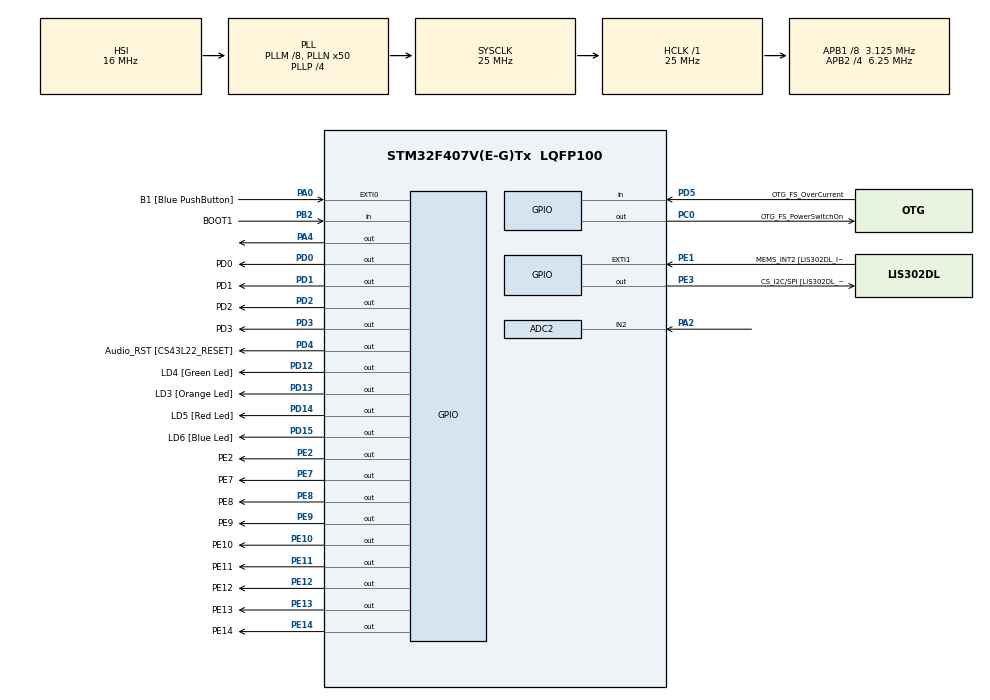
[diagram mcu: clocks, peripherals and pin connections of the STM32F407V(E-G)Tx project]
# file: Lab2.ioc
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ADC2.Channel-0\#ChannelRegularConversion=ADC_CHANNEL_2
ADC2.ClockPrescaler=ADC_CLOCK_SYNC_PCLK_DIV2
ADC2.ContinuousConvMode=DISABLE
ADC2.DMAContinuousRequests=DISABLE
ADC2.DataAlign=ADC_DATAALIGN_RIGHT
ADC2.DiscontinuousConvMode=DISABLE
ADC2.EOCSelection=ADC_EOC_SINGLE_CONV
ADC2.EnableAnalogWatchDog=false
ADC2.ExternalTrigConv=ADC_EXTERNALTRIGCONV_T2_TRGO
ADC2.ExternalTrigConvEdge=ADC_EXTERNALTRIGCONVEDGE_RISING
ADC2.InjNumberOfConversion=0
ADC2.NbrOfConversion=1
ADC2.NbrOfConversionFlag=1
ADC2.Rank-0\#ChannelRegularConversion=1
ADC2.Resolution=ADC_RESOLUTION_8B
ADC2.SamplingTime-0\#ChannelRegularConversion=ADC_SAMPLETIME_3CYCLES
ADC2.ScanConvMode=DISABLE
Mcu.Family=STM32F4
Mcu.Name=STM32F407V(E-G)Tx
Mcu.Package=LQFP100
NVIC.PriorityGroup=NVIC_PRIORITYGROUP_0
NVIC.TIM2_IRQn=true\:0\:0\:false\:false\:true
NVIC.TIM3_IRQn=true\:0\:0\:false\:false\:true
PA0-WKUP.GPIO_Label=B1 [Blue PushButton]
PA0-WKUP.GPIO_ModeDefaultEXTI=GPIO_MODE_EVT_RISING
PA0-WKUP.GPIO_PuPd=GPIO_NOPULL
PA0-WKUP.Signal=GPXTI0
PA10.GPIO_Label=OTG_FS_ID
PA10.GPIO_Mode=GPIO_MODE_AF_PP
PA10.GPIO_PuPd=GPIO_NOPULL
PA10.GPIO_Speed=GPIO_SPEED_FREQ_LOW
PA10.Signal=USB_OTG_FS_ID
PA11.GPIO_Label=OTG_FS_DM
PA11.GPIO_Mode=GPIO_MODE_AF_PP
PA11.GPIO_PuPd=GPIO_NOPULL
PA11.GPIO_Speed=GPIO_SPEED_FREQ_LOW
PA11.Signal=USB_OTG_FS_DM
PA12.GPIO_Label=OTG_FS_DP
PA12.GPIO_Mode=GPIO_MODE_AF_PP
PA12.GPIO_PuPd=GPIO_NOPULL
PA12.GPIO_Speed=GPIO_SPEED_FREQ_LOW
PA12.Signal=USB_OTG_FS_DP
PA13.GPIO_Label=SWDIO
PA13.Signal=SYS_JTMS-SWDIO
PA14.GPIO_Label=SWCLK
PA14.Signal=SYS_JTCK-SWCLK
PA2.Signal=ADCx_IN2
PA4.Signal=GPIO_Output
PA5.GPIO_Label=SPI1_SCK [LIS302DL_SCL/SPC]
PA5.GPIO_Mode=GPIO_MODE_AF_PP
PA5.GPIO_PuPd=GPIO_NOPULL
PA5.GPIO_Speed=GPIO_SPEED_FREQ_LOW
PA5.Signal=SPI1_SCK
PA6.GPIO_Label=SPI1_MISO [LIS302DL_SDO]
PA6.GPIO_Mode=GPIO_MODE_AF_PP
PA6.GPIO_PuPd=GPIO_NOPULL
PA6.GPIO_Speed=GPIO_SPEED_FREQ_LOW
PA6.Signal=SPI1_MISO
PA7.GPIO_Label=SPI1_MOSI [LIS302DL_SDA/SDI/SDO]
PA7.GPIO_Mode=GPIO_MODE_AF_PP
PA7.GPIO_PuPd=GPIO_NOPULL
PA7.GPIO_Speed=GPIO_SPEED_FREQ_LOW
PA7.Signal=SPI1_MOSI
PA9.GPIO_Label=VBUS_FS
PA9.GPIO_Mode=GPIO_MODE_INPUT
PA9.GPIO_PuPd=GPIO_NOPULL
PA9.Signal=USB_OTG_FS_VBUS
PB10.GPIO_Label=CLK_IN [MP45DT02_CLK]
PB10.GPIO_Mode=GPIO_MODE_AF_PP
PB10.GPIO_PuPd=GPIO_NOPULL
PB10.GPIO_Speed=GPIO_SPEED_FREQ_LOW
PB10.Signal=I2S2_CK
PB2.GPIO_Label=BOOT1
PB2.GPIO_Mode=GPIO_MODE_INPUT
PB2.GPIO_PuPd=GPIO_NOPULL
PB2.Signal=GPIO_Input
PB3.GPIO_Label=SWO
PB3.Signal=SYS_JTDO-SWO
PB6.GPIO_Label=Audio_SCL [CS43L22_SCL]
PB6.GPIO_Mode=GPIO_MODE_AF_OD
PB6.GPIO_PuPd=GPIO_NOPULL
PB6.GPIO_Speed=GPIO_SPEED_FREQ_LOW
PB6.Signal=I2C1_SCL
PB9.GPIO_Label=Audio_SDA [CS43L22_SDA]
PB9.GPIO_Mode=GPIO_MODE_AF_OD
PB9.GPIO_PuPd=GPIO_NOPULL
PB9.GPIO_Speed=GPIO_SPEED_FREQ_LOW
PB9.Signal=I2C1_SDA
PC0.GPIO_Label=OTG_FS_PowerSwitchOn
PC0.GPIO_PuPd=GPIO_NOPULL
PC0.GPIO_Speed=GPIO_SPEED_FREQ_LOW
PC0.PinState=GPIO_PIN_SET
PC0.Signal=GPIO_Output
PC10.GPIO_Label=I2S3_SCK [CS43L22_SCLK]
PC10.GPIO_Mode=GPIO_MODE_AF_PP
PC10.GPIO_PuPd=GPIO_NOPULL
PC10.GPIO_Speed=GPIO_SPEED_FREQ_LOW
PC10.Signal=I2S3_CK
PC12.GPIO_Label=I2S3_SD [CS43L22_SDIN]
PC12.GPIO_Mode=GPIO_MODE_AF_PP
PC12.GPIO_PuPd=GPIO_NOPULL
PC12.GPIO_Speed=GPIO_SPEED_FREQ_LOW
PC12.Signal=I2S3_SD
PC14-OSC32_IN.GPIO_Label=PC14-OSC32_IN
PC14-OSC32_IN.Signal=RCC_OSC32_IN
PC15-OSC32_OUT.GPIO_Label=PC15-OSC32_OUT
PC15-OSC32_OUT.Signal=RCC_OSC32_OUT
PC3.GPIO_Label=PDM_OUT [MP45DT02_DOUT]
PC3.GPIO_Mode=GPIO_MODE_AF_PP
PC3.GPIO_PuPd=GPIO_NOPULL
PC3.GPIO_Speed=GPIO_SPEED_FREQ_LOW
PC3.Signal=I2S2_SD
PC7.GPIO_Label=I2S3_MCK [CS43L22_MCLK]
PC7.GPIO_Mode=GPIO_MODE_AF_PP
PC7.GPIO_PuPd=GPIO_NOPULL
PC7.GPIO_Speed=GPIO_SPEED_FREQ_LOW
PC7.Signal=I2S3_MCK
PD0.GPIO_Label=PD0
PD0.Signal=GPIO_Output
PD1.GPIO_Label=PD1
PD1.Signal=GPIO_Output
PD12.GPIO_Label=LD4 [Green Led]
PD12.GPIO_PuPd=GPIO_NOPULL
PD12.GPIO_Speed=GPIO_SPEED_FREQ_LOW
PD12.Signal=GPIO_Output
PD13.GPIO_Label=LD3 [Orange Led]
PD13.GPIO_PuPd=GPIO_NOPULL
PD13.GPIO_Speed=GPIO_SPEED_FREQ_LOW
PD13.Signal=GPIO_Output
PD14.GPIO_Label=LD5 [Red Led]
PD14.GPIO_PuPd=GPIO_NOPULL
PD14.GPIO_Speed=GPIO_SPEED_FREQ_LOW
PD14.Signal=GPIO_Output
PD15.GPIO_Label=LD6 [Blue Led]
PD15.GPIO_PuPd=GPIO_NOPULL
PD15.GPIO_Speed=GPIO_SPEED_FREQ_LOW
PD15.Signal=GPIO_Output
PD2.GPIO_Label=PD2
PD2.Signal=GPIO_Output
PD3.GPIO_Label=PD3
PD3.Signal=GPIO_Output
PD4.GPIO_Label=Audio_RST [CS43L22_RESET]
PD4.GPIO_PuPd=GPIO_NOPULL
PD4.GPIO_Speed=GPIO_SPEED_FREQ_LOW
PD4.Signal=GPIO_Output
PD5.GPIO_Label=OTG_FS_OverCurrent
PD5.GPIO_Mode=GPIO_MODE_INPUT
PD5.GPIO_PuPd=GPIO_NOPULL
PD5.Signal=GPIO_Input
PE1.GPIO_Label=MEMS_INT2 [LIS302DL_INT2]
PE1.GPIO_ModeDefaultEXTI=GPIO_MODE_EVT_RISING
PE1.GPIO_PuPd=GPIO_NOPULL
PE1.Signal=GPXTI1
PE10.GPIO_Label=PE10
PE10.Signal=GPIO_Output
PE11.GPIO_Label=PE11
PE11.Signal=GPIO_Output
PE12.GPIO_Label=PE12
PE12.Signal=GPIO_Output
PE13.GPIO_Label=PE13
PE13.Signal=GPIO_Output
PE14.GPIO_Label=PE14
PE14.Signal=GPIO_Output
PE2.GPIO_Label=PE2
PE2.Signal=GPIO_Output
PE3.GPIO_Label=CS_I2C/SPI [LIS302DL_CS_I2C/SPI]
PE3.GPIO_PuPd=GPIO_NOPULL
PE3.GPIO_Speed=GPIO_SPEED_FREQ_LOW
PE3.Signal=GPIO_Output
PE7.GPIO_Label=PE7
PE7.Signal=GPIO_Output
PE8.GPIO_Label=PE8
PE8.Signal=GPIO_Output
PE9.GPIO_Label=PE9
PE9.Signal=GPIO_Output
PH0-OSC_IN.GPIO_Label=PH0-OSC_IN
PH0-OSC_IN.Signal=RCC_OSC_IN
PH1-OSC_OUT.GPIO_Label=PH1-OSC_OUT
PH1-OSC_OUT.Signal=RCC_OSC_OUT
ProjectManager.HeapSize=0x200
ProjectManager.StackSize=0x400
ProjectManager.TargetToolchain=MDK-ARM V5
RCC.48MHZClocksFreq_Value=14285714.285714285
RCC.AHBFreq_Value=25000000
RCC.APB1CLKDivider=RCC_HCLK_DIV8
RCC.APB1Freq_Value=3125000
RCC.APB1TimFreq_Value=6250000
RCC.APB2CLKDivider=RCC_HCLK_DIV4
RCC.APB2Freq_Value=6250000
RCC.APB2TimFreq_Value=12500000
RCC.CortexFreq_Value=25000000
RCC.HCLKFreq_Value=25000000
RCC.HSE_VALUE=8000000
RCC.HSI_VALUE=16000000
RCC.LSE_VALUE=32768
RCC.PLLM=8
RCC.PLLN=50
RCC.PLLP=RCC_PLLP_DIV4
RCC.PLLQ=7
RCC.SYSCLKFreq_VALUE=25000000
RCC.SYSCLKSource=RCC_SYSCLKSOURCE_PLLCLK
RCC.VCOOutputFreq_Value=100000000
SH.ADCx_IN2.0=ADC2_IN2,IN2
TIM2.Period=1000
TIM2.Prescaler=6250
TIM3.Period=20
TIM3.Prescaler=6250
TIM3.TIM_MasterOutputTrigger=TIM_TRGO_UPDATE
VP_TIM2_VS_ClockSourceINT.Mode=Internal
VP_TIM3_VS_ClockSourceINT.Mode=Internal
board=STM32F4DISCOVERY

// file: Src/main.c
/**
  ******************************************************************************
  * File Name          : main.c
  * Description        : Main program body
  ******************************************************************************
  ** This notice applies to any and all portions of this file
  * that are not between comment pairs USER CODE BEGIN and
  * USER CODE END. Other portions of this file, whether
  * inserted by the user or by software development tools
  * are owned by their respective copyright owners.
  *
  * COPYRIGHT(c) 2017 STMicroelectronics
  *
  * Redistribution and use in source and binary forms, with or without modification,
  * are permitted provided that the following conditions are met:
  *   1. Redistributions of source code must retain the above copyright notice,
  *      this list of conditions and the following disclaimer.
  *   2. Redistributions in binary form must reproduce the above copyright notice,
  *      this list of conditions and the following disclaimer in the documentation
  *      and/or other materials provided with the distribution.
  *   3. Neither the name of STMicroelectronics nor the names of its contributors
  *      may be used to endorse or promote products derived from this software
  *      without specific prior written permission.
  *
  * THIS SOFTWARE IS PROVIDED BY THE COPYRIGHT HOLDERS AND CONTRIBUTORS "AS IS"
  * AND ANY EXPRESS OR IMPLIED WARRANTIES, INCLUDING, BUT NOT LIMITED TO, THE
  * IMPLIED WARRANTIES OF MERCHANTABILITY AND FITNESS FOR A PARTICULAR PURPOSE ARE
  * DISCLAIMED. IN NO EVENT SHALL THE COPYRIGHT HOLDER OR CONTRIBUTORS BE LIABLE
  * FOR ANY DIRECT, INDIRECT, INCIDENTAL, SPECIAL, EXEMPLARY, OR CONSEQUENTIAL
  * DAMAGES (INCLUDING, BUT NOT LIMITED TO, PROCUREMENT OF SUBSTITUTE GOODS OR
  * SERVICES; LOSS OF USE, DATA, OR PROFITS; OR BUSINESS INTERRUPTION) HOWEVER
  * CAUSED AND ON ANY THEORY OF LIABILITY, WHETHER IN CONTRACT, STRICT LIABILITY,
  * OR TORT (INCLUDING NEGLIGENCE OR OTHERWISE) ARISING IN ANY WAY OUT OF THE USE
  * OF THIS SOFTWARE, EVEN IF ADVISED OF THE POSSIBILITY OF SUCH DAMAGE.
  *
  ******************************************************************************
  */
#include "main.h"
#include "math.h"
#include "stm32f4xx_hal.h"
#include "adc.h"
#include "tim.h"
#include "gpio.h"

/* USER CODE BEGIN PV */
/* Private variables ---------------------------------------------------------*/
int displayCounter=0;
int currentDigit=0;
int windowSizePassed=0;
int overflowed = 0;
int spiked = 0;

int overflowCounter = 0;
int spikeCounter = 0;

int flag;
int waveFlag;

int digitArray[4]={0,0,0,0} ;

float total = 0;
float voltage_reading = 0;
const float WINDOW = 10.0;
const int WINDOW_INT=(int)WINDOW;
int window_counter = WINDOW_INT;
int counter = 0;
float buffer[WINDOW_INT];
float val_a = 0;
float val_b = 0;
const float MAX_ADC_BITS = 255.0f;
const float MAX_VOLTS = 3.0f;
const float VOLTS_PER_BIT = (MAX_VOLTS / MAX_ADC_BITS);
const	float MAX_ALLOWABLE = 3.402823466e+38F;

const int DISPLAY_COUNTER_MAX = 100;
const int LED_COUNTER_MAX = 300;

const float DELTA_THRESHOLD = (MAX_VOLTS*MAX_VOLTS*0.2*0.2); //Delta threshold set to 0.7 of full range.

/* USER CODE END PV */

void SystemClock_Config(void);

/* USER CODE BEGIN PFP */
/* Private function prototypes -----------------------------------------------*/

/* USER CODE END PFP */

/* USER CODE BEGIN 0 */

/**
* 	Lights up LEDs to indicate that the window size has not fully been collected yet.
*	  ORANGE LED ON, ALL ELSE OFF
*/
void preWindowState(){
		windowSizePassed=0;
		HAL_GPIO_WritePin(GPIOD, GPIO_PIN_12, GPIO_PIN_RESET);
		HAL_GPIO_WritePin(GPIOD, GPIO_PIN_13, GPIO_PIN_SET);
		HAL_GPIO_WritePin(GPIOD, GPIO_PIN_14, GPIO_PIN_RESET);
		HAL_GPIO_WritePin(GPIOD, GPIO_PIN_15, GPIO_PIN_RESET);
}

/**
* 	Lights up LEDs to indicate that data is being collected as expected.
*	  GREEN LED ON,  ALL ELSE OFF
*/
void stableState(){
		windowSizePassed=1;
		HAL_GPIO_WritePin(GPIOD, GPIO_PIN_12, GPIO_PIN_SET);
		HAL_GPIO_WritePin(GPIOD, GPIO_PIN_13, GPIO_PIN_RESET);
		HAL_GPIO_WritePin(GPIOD, GPIO_PIN_14, GPIO_PIN_RESET);
		HAL_GPIO_WritePin(GPIOD, GPIO_PIN_15, GPIO_PIN_RESET);
}

/**
* 	Lights up LEDs to indicate that an overflow has been detected.
*	  RED LED ON,  ALL ELSE OFF
*/
void overFlowState(){
		HAL_GPIO_WritePin(GPIOD, GPIO_PIN_12, GPIO_PIN_RESET);
		HAL_GPIO_WritePin(GPIOD, GPIO_PIN_13, GPIO_PIN_RESET);
		HAL_GPIO_WritePin(GPIOD, GPIO_PIN_14, GPIO_PIN_SET);
		HAL_GPIO_WritePin(GPIOD, GPIO_PIN_15, GPIO_PIN_RESET);
}

/**
* 	Lights up LEDs to indicate that a data spike or unexpected value has been detected
*	  BLUE LED ON,  ALL ELSE OFF
*/
void spikeState(){
		HAL_GPIO_WritePin(GPIOD, GPIO_PIN_12, GPIO_PIN_RESET);
		HAL_GPIO_WritePin(GPIOD, GPIO_PIN_13, GPIO_PIN_RESET);
		HAL_GPIO_WritePin(GPIOD, GPIO_PIN_14, GPIO_PIN_RESET);
		HAL_GPIO_WritePin(GPIOD, GPIO_PIN_15, GPIO_PIN_SET);
}
/* USER CODE END 0 */

int main(void)
{

  /* MCU Configuration----------------------------------------------------------*/

  /* Reset of all peripherals, Initializes the Flash interface and the Systick. */
  HAL_Init();

  /* Configure the system clock */
  SystemClock_Config();
	//HAL_NVIC_EnableIRQ(ADC_IRQn);

  /* Initialize all configured peripherals */
  MX_GPIO_Init();
  MX_TIM2_Init();
	MX_TIM3_Init();
  MX_ADC2_Init();

  /* USER CODE BEGIN 2 */

	// Step(1): Start the Timer as interrupt
	HAL_TIM_Base_Start_IT(&htim2);
	HAL_TIM_Base_Start_IT(&htim3);
	// Step(2): Start the ADC
	HAL_ADC_Start(&hadc2);
  /* USER CODE END 2 */
	preWindowState(); //Starts off at state before window size has been filled up
	floatTo4DigitArray(0);
  /* Infinite loop */
  /* USER CODE BEGIN WHILE */
	HAL_GPIO_WritePin(GPIOE, GPIO_PIN_2, GPIO_PIN_RESET);

	int counterTemp = 0;
  while (1)
  {
		//Update the value to be shown in 7-segment display.
		if (displayCounter==DISPLAY_COUNTER_MAX-1){ //Waiting for counter to reach 99 ensures display is updated less frequently than interrupt rate from timer (so as changes to be easily visible)
			floatTo4DigitArray(voltage_reading);
		}

		//Calculate RMS, and toggle which digit of 7-segment display to display
		if (flag==1){
			getVoltage();
			digitSelect(toggleDigit());
    }

		//Toggle square wave
		if (waveFlag==1){
			HAL_GPIO_TogglePin(GPIOE, GPIO_PIN_2);
			waveFlag=0;
    }
  }
  /* USER CODE END 3 */
}

/**
* Voltmeter functionality; Takes the RMS over the window size worth of samples.
*/
void getVoltage(){
		uint32_t adcVal = HAL_ADC_GetValue(&hadc2);
		float voltage = (float)adcVal * VOLTS_PER_BIT;
		float voltage_sqrt = voltage * voltage;
		if(window_counter>0){
			window_counter -= 1;
			val_a = val_a + voltage_sqrt;
			buffer[counter] = voltage_sqrt;
		}else{
			if (!windowSizePassed)
				stableState();
			if (spiked==1){
				spikeCounter= (spikeCounter+1)%LED_COUNTER_MAX;
				if (spikeCounter == LED_COUNTER_MAX-1){
					stableState();
					spiked=0;
				}
			}
			val_b = val_b+buffer[counter];
			buffer[counter] = voltage_sqrt;
			val_a = val_a + voltage_sqrt;
			voltage_reading= (val_a-val_b)/WINDOW;
			voltage_reading = sqrt(voltage_reading);
			checkForSpike( buffer[counter],  buffer[counter-1], buffer[counter-2]); //if spike is detected, overwrite it
		}
		flag=0;
		checkForOverflow(voltage_reading);
		counter= (counter+1)%WINDOW_INT;
}

/**
* Checks for spikes in calculated values - if three successive values have a threshold level of difference (for example, 1,3,1) between them, we call this a spike.
*/
int checkForSpike(float a, float b, float c){
	if(spiked==0&&fabs(a-b)>DELTA_THRESHOLD &&fabs(b-c)>DELTA_THRESHOLD){//spike detected.
		spikeState();
		spiked=1;
		return 1;
	}
	return 0;
}

/**
* When we get near the overflow value, we reset the accumulators.
*/
void checkForOverflow(float voltage_reading){
	float max= MAX_ALLOWABLE/2;
	if (val_a> max){
		if (overflowed==0){
			overFlowState();
			overflowed=1;
			val_b= 0;
			val_a= 0;
			window_counter= WINDOW_INT;
		}
	} else {
		if (overflowed==1){
			overflowCounter = (overflowCounter+1)%LED_COUNTER_MAX;
			if (overflowCounter==LED_COUNTER_MAX-1){
				stableState();
				overflowed=0;
			}
		}
	}
}

/**
* Takes the first  to a 4 digit array
*/
void floatTo4DigitArray(float fVal)
{    fVal += 0.0005; //So that we round up properly
    digitArray[0] = (int) fVal;
    fVal = (fVal-digitArray[0]) * 10;
    digitArray[1] = (int) fVal;
    fVal = (fVal-digitArray[1]) * 10;
    digitArray[2] = (int) fVal;
    fVal = (fVal-digitArray[2]) * 10;
    digitArray[3] = (int) fVal;
}

/**
* Sets the segments pins so that the appropriate segments are lit according to number
* A - 7
* B - 8
* C - 9
* D - 10
* E - 11
* F - 12
* G - 13
*/
void displayInt(int toDisplay){
	if (toDisplay==0){ //G off
			HAL_GPIO_WritePin(GPIOE,GPIO_PIN_7,GPIO_PIN_SET);
			HAL_GPIO_WritePin(GPIOE,GPIO_PIN_8,GPIO_PIN_SET);
			HAL_GPIO_WritePin(GPIOE,GPIO_PIN_9,GPIO_PIN_SET);
			HAL_GPIO_WritePin(GPIOE,GPIO_PIN_10,GPIO_PIN_SET);
			HAL_GPIO_WritePin(GPIOE,GPIO_PIN_11,GPIO_PIN_SET);
			HAL_GPIO_WritePin(GPIOE,GPIO_PIN_12,GPIO_PIN_SET);
			HAL_GPIO_WritePin(GPIOE,GPIO_PIN_13,GPIO_PIN_RESET);
	}
	if (toDisplay==1){ //B and E on
			HAL_GPIO_WritePin(GPIOE,GPIO_PIN_7,GPIO_PIN_RESET);
			HAL_GPIO_WritePin(GPIOE,GPIO_PIN_8,GPIO_PIN_SET);
			HAL_GPIO_WritePin(GPIOE,GPIO_PIN_9,GPIO_PIN_SET);
			HAL_GPIO_WritePin(GPIOE,GPIO_PIN_10,GPIO_PIN_RESET);
			HAL_GPIO_WritePin(GPIOE,GPIO_PIN_11,GPIO_PIN_RESET);
			HAL_GPIO_WritePin(GPIOE,GPIO_PIN_12,GPIO_PIN_RESET);
			HAL_GPIO_WritePin(GPIOE,GPIO_PIN_13,GPIO_PIN_RESET);
	}
	if (toDisplay==2){ //F and C off
			HAL_GPIO_WritePin(GPIOE,GPIO_PIN_7,GPIO_PIN_SET);
			HAL_GPIO_WritePin(GPIOE,GPIO_PIN_8,GPIO_PIN_SET);
			HAL_GPIO_WritePin(GPIOE,GPIO_PIN_9,GPIO_PIN_RESET);
			HAL_GPIO_WritePin(GPIOE,GPIO_PIN_10,GPIO_PIN_SET);
			HAL_GPIO_WritePin(GPIOE,GPIO_PIN_11,GPIO_PIN_SET);
			HAL_GPIO_WritePin(GPIOE,GPIO_PIN_12,GPIO_PIN_RESET);
			HAL_GPIO_WritePin(GPIOE,GPIO_PIN_13,GPIO_PIN_SET);
	}	if (toDisplay==3){ // F and E off
			HAL_GPIO_WritePin(GPIOE,GPIO_PIN_7,GPIO_PIN_SET);
			HAL_GPIO_WritePin(GPIOE,GPIO_PIN_8,GPIO_PIN_SET);
			HAL_GPIO_WritePin(GPIOE,GPIO_PIN_9,GPIO_PIN_SET);
			HAL_GPIO_WritePin(GPIOE,GPIO_PIN_10,GPIO_PIN_SET);
			HAL_GPIO_WritePin(GPIOE,GPIO_PIN_11,GPIO_PIN_RESET);
			HAL_GPIO_WritePin(GPIOE,GPIO_PIN_12,GPIO_PIN_RESET);
			HAL_GPIO_WritePin(GPIOE,GPIO_PIN_13,GPIO_PIN_SET);
	}	if (toDisplay==4){ //A, D, and E off
			HAL_GPIO_WritePin(GPIOE,GPIO_PIN_7,GPIO_PIN_RESET);
			HAL_GPIO_WritePin(GPIOE,GPIO_PIN_8,GPIO_PIN_SET);
			HAL_GPIO_WritePin(GPIOE,GPIO_PIN_9,GPIO_PIN_SET);
			HAL_GPIO_WritePin(GPIOE,GPIO_PIN_10,GPIO_PIN_RESET);
			HAL_GPIO_WritePin(GPIOE,GPIO_PIN_11,GPIO_PIN_RESET);
			HAL_GPIO_WritePin(GPIOE,GPIO_PIN_12,GPIO_PIN_SET);
			HAL_GPIO_WritePin(GPIOE,GPIO_PIN_13,GPIO_PIN_SET);
	}	if (toDisplay==5){ //B and E off
			HAL_GPIO_WritePin(GPIOE,GPIO_PIN_7,GPIO_PIN_SET);
			HAL_GPIO_WritePin(GPIOE,GPIO_PIN_8,GPIO_PIN_RESET);
			HAL_GPIO_WritePin(GPIOE,GPIO_PIN_9,GPIO_PIN_SET);
			HAL_GPIO_WritePin(GPIOE,GPIO_PIN_10,GPIO_PIN_SET);
			HAL_GPIO_WritePin(GPIOE,GPIO_PIN_11,GPIO_PIN_RESET);
			HAL_GPIO_WritePin(GPIOE,GPIO_PIN_12,GPIO_PIN_SET);
			HAL_GPIO_WritePin(GPIOE,GPIO_PIN_13,GPIO_PIN_SET);
	}	if (toDisplay==6){// B off
			HAL_GPIO_WritePin(GPIOE,GPIO_PIN_7,GPIO_PIN_SET);
			HAL_GPIO_WritePin(GPIOE,GPIO_PIN_8,GPIO_PIN_RESET);
			HAL_GPIO_WritePin(GPIOE,GPIO_PIN_9,GPIO_PIN_SET);
			HAL_GPIO_WritePin(GPIOE,GPIO_PIN_10,GPIO_PIN_SET);
			HAL_GPIO_WritePin(GPIOE,GPIO_PIN_11,GPIO_PIN_SET);
			HAL_GPIO_WritePin(GPIOE,GPIO_PIN_12,GPIO_PIN_SET);
			HAL_GPIO_WritePin(GPIOE,GPIO_PIN_13,GPIO_PIN_SET);
	}	if (toDisplay==7){ //A, B, C on
			HAL_GPIO_WritePin(GPIOE,GPIO_PIN_7,GPIO_PIN_SET);
			HAL_GPIO_WritePin(GPIOE,GPIO_PIN_8,GPIO_PIN_SET);
			HAL_GPIO_WritePin(GPIOE,GPIO_PIN_9,GPIO_PIN_SET);
			HAL_GPIO_WritePin(GPIOE,GPIO_PIN_10,GPIO_PIN_RESET);
			HAL_GPIO_WritePin(GPIOE,GPIO_PIN_11,GPIO_PIN_RESET);
			HAL_GPIO_WritePin(GPIOE,GPIO_PIN_12,GPIO_PIN_RESET);
			HAL_GPIO_WritePin(GPIOE,GPIO_PIN_13,GPIO_PIN_RESET);
	}
	if (toDisplay==8){  //All segments on
			HAL_GPIO_WritePin(GPIOE,GPIO_PIN_7,GPIO_PIN_SET);
			HAL_GPIO_WritePin(GPIOE,GPIO_PIN_8,GPIO_PIN_SET);
			HAL_GPIO_WritePin(GPIOE,GPIO_PIN_9,GPIO_PIN_SET);
			HAL_GPIO_WritePin(GPIOE,GPIO_PIN_10,GPIO_PIN_SET);
			HAL_GPIO_WritePin(GPIOE,GPIO_PIN_11,GPIO_PIN_SET);
			HAL_GPIO_WritePin(GPIOE,GPIO_PIN_12,GPIO_PIN_SET);
			HAL_GPIO_WritePin(GPIOE,GPIO_PIN_13,GPIO_PIN_SET);
	}
		if (toDisplay==9){  // E off
			HAL_GPIO_WritePin(GPIOE,GPIO_PIN_7,GPIO_PIN_SET);
			HAL_GPIO_WritePin(GPIOE,GPIO_PIN_8,GPIO_PIN_SET);
			HAL_GPIO_WritePin(GPIOE,GPIO_PIN_9,GPIO_PIN_SET);
			HAL_GPIO_WritePin(GPIOE,GPIO_PIN_10,GPIO_PIN_SET);
			HAL_GPIO_WritePin(GPIOE,GPIO_PIN_11,GPIO_PIN_RESET);
			HAL_GPIO_WritePin(GPIOE,GPIO_PIN_12,GPIO_PIN_SET);
			HAL_GPIO_WritePin(GPIOE,GPIO_PIN_13,GPIO_PIN_SET);
	}
}

/**
* Selects which of the four digits to enable
*/
int toggleDigit(){
	currentDigit=(currentDigit+1)%4;
	return currentDigit;
}

/**
* Depending on which bit is selected, enables the digit in
*/
void digitSelect(int currentDigit ){
		if (currentDigit==0){
			HAL_GPIO_WritePin(GPIOD,GPIO_PIN_0,GPIO_PIN_SET);
			HAL_GPIO_WritePin(GPIOD,GPIO_PIN_1,GPIO_PIN_RESET);
			HAL_GPIO_WritePin(GPIOD,GPIO_PIN_2,GPIO_PIN_RESET);
			HAL_GPIO_WritePin(GPIOD,GPIO_PIN_3,GPIO_PIN_RESET);
			HAL_GPIO_WritePin(GPIOE,GPIO_PIN_14,GPIO_PIN_SET); //also set the decimal point always for first digit
		}
		if (currentDigit==1){
			HAL_GPIO_WritePin(GPIOD,GPIO_PIN_0,GPIO_PIN_RESET);
			HAL_GPIO_WritePin(GPIOD,GPIO_PIN_1,GPIO_PIN_SET);
			HAL_GPIO_WritePin(GPIOD,GPIO_PIN_2,GPIO_PIN_RESET);
			HAL_GPIO_WritePin(GPIOD,GPIO_PIN_3,GPIO_PIN_RESET);
			HAL_GPIO_WritePin(GPIOE,GPIO_PIN_14,GPIO_PIN_RESET);

		}if (currentDigit==2){
			HAL_GPIO_WritePin(GPIOD,GPIO_PIN_0,GPIO_PIN_RESET);
			HAL_GPIO_WritePin(GPIOD,GPIO_PIN_1,GPIO_PIN_RESET);
			HAL_GPIO_WritePin(GPIOD,GPIO_PIN_2,GPIO_PIN_SET);
			HAL_GPIO_WritePin(GPIOD,GPIO_PIN_3,GPIO_PIN_RESET);
			HAL_GPIO_WritePin(GPIOE,GPIO_PIN_14,GPIO_PIN_RESET);

		}if (currentDigit==3){
			HAL_GPIO_WritePin(GPIOD,GPIO_PIN_0,GPIO_PIN_RESET);
			HAL_GPIO_WritePin(GPIOD,GPIO_PIN_1,GPIO_PIN_RESET);
			HAL_GPIO_WritePin(GPIOD,GPIO_PIN_2,GPIO_PIN_RESET);
			HAL_GPIO_WritePin(GPIOD,GPIO_PIN_3,GPIO_PIN_SET);
			HAL_GPIO_WritePin(GPIOE,GPIO_PIN_14,GPIO_PIN_RESET);
		}
		displayInt(digitArray[currentDigit]);
}

/** System Clock Configuration
*/
void SystemClock_Config(void)
{

  RCC_OscInitTypeDef RCC_OscInitStruct;
  RCC_ClkInitTypeDef RCC_ClkInitStruct;

    /**Configure the main internal regulator output voltage
    */
  __HAL_RCC_PWR_CLK_ENABLE();

  __HAL_PWR_VOLTAGESCALING_CONFIG(PWR_REGULATOR_VOLTAGE_SCALE1);

    /**Initializes the CPU, AHB and APB busses clocks
    */
  RCC_OscInitStruct.OscillatorType = RCC_OSCILLATORTYPE_HSI;
  RCC_OscInitStruct.HSIState = RCC_HSI_ON;
  RCC_OscInitStruct.HSICalibrationValue = 16;
  RCC_OscInitStruct.PLL.PLLState = RCC_PLL_ON;
  RCC_OscInitStruct.PLL.PLLSource = RCC_PLLSOURCE_HSI;
  RCC_OscInitStruct.PLL.PLLM = 8;
  RCC_OscInitStruct.PLL.PLLN = 50;
  RCC_OscInitStruct.PLL.PLLP = RCC_PLLP_DIV4;
  RCC_OscInitStruct.PLL.PLLQ = 7;
  if (HAL_RCC_OscConfig(&RCC_OscInitStruct) != HAL_OK)
  {
    _Error_Handler(__FILE__, __LINE__);
  }

    /**Initializes the CPU, AHB and APB busses clocks
    */
  RCC_ClkInitStruct.ClockType = RCC_CLOCKTYPE_HCLK|RCC_CLOCKTYPE_SYSCLK
                              |RCC_CLOCKTYPE_PCLK1|RCC_CLOCKTYPE_PCLK2;
  RCC_ClkInitStruct.SYSCLKSource = RCC_SYSCLKSOURCE_PLLCLK;
  RCC_ClkInitStruct.AHBCLKDivider = RCC_SYSCLK_DIV1;
  RCC_ClkInitStruct.APB1CLKDivider = RCC_HCLK_DIV8;
  RCC_ClkInitStruct.APB2CLKDivider = RCC_HCLK_DIV4;

  if (HAL_RCC_ClockConfig(&RCC_ClkInitStruct, FLASH_LATENCY_0) != HAL_OK)
  {
    _Error_Handler(__FILE__, __LINE__);
  }

    /**Configure the Systick interrupt time
    */
  HAL_SYSTICK_Config(HAL_RCC_GetHCLKFreq()/1000);

    /**Configure the Systick
    */
  HAL_SYSTICK_CLKSourceConfig(SYSTICK_CLKSOURCE_HCLK);

  /* SysTick_IRQn interrupt configuration */
  HAL_NVIC_SetPriority(SysTick_IRQn, 0, 0);
}

void _Error_Handler(char * file, int line)
{
  while(1)
  {
  }
}

/************************ (C) COPYRIGHT STMicroelectronics *****END OF FILE****/
